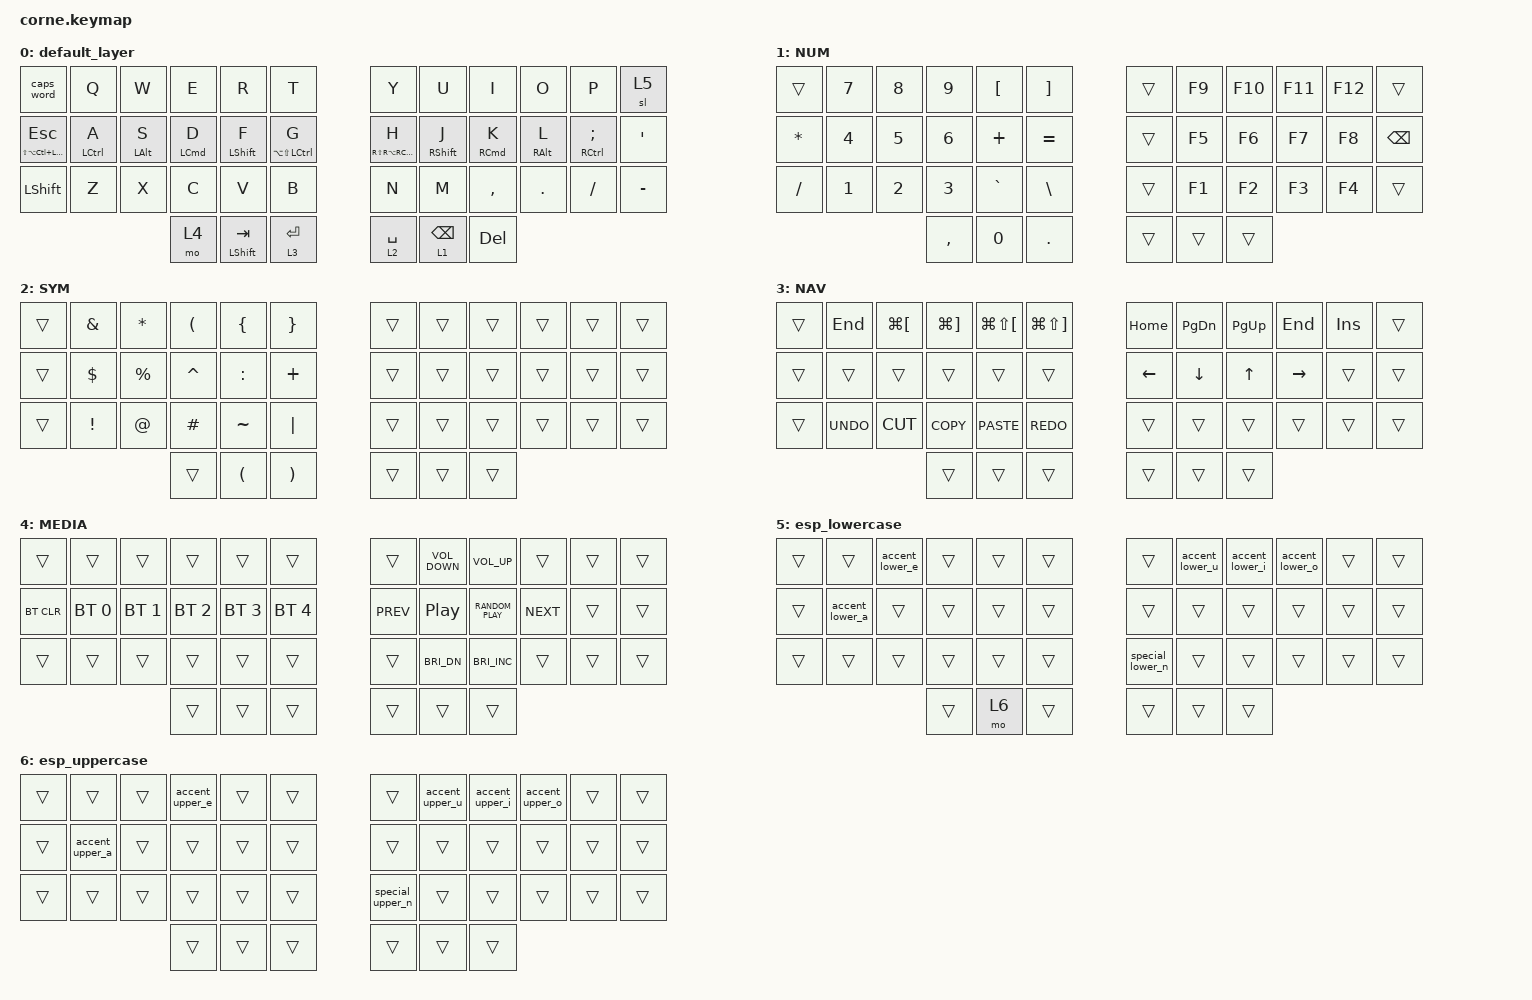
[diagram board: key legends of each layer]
/*
 * Copyright (c) 2020 The ZMK Contributors
 *
 * SPDX-License-Identifier: MIT
 */

#include <behaviors.dtsi>
#include <dt-bindings/zmk/bt.h>
#include <dt-bindings/zmk/keys.h>

/ {
    macros {
        accent_lower_a: accent_lower_a {
            compatible = "zmk,behavior-macro";
            #binding-cells = <0>;
            bindings = <&kp LA(E) &kp A &to 0>;
            label = "ACCENT_LOWER_A";
        };

        accent_lower_e: accent_lower_e {
            compatible = "zmk,behavior-macro";
            #binding-cells = <0>;
            bindings = <&kp LA(E) &kp E &to 0>;
            label = "ACCENT_LOWER_E";
        };

        accent_lower_i: accent_lower_i {
            compatible = "zmk,behavior-macro";
            #binding-cells = <0>;
            bindings = <&kp LA(E) &kp I &to 0>;
            label = "ACCENT_LOWER_I";
        };

        accent_lower_o: accent_lower_o {
            compatible = "zmk,behavior-macro";
            #binding-cells = <0>;
            bindings = <&kp LA(E) &kp O &to 0>;
            label = "ACCENT_LOWER_O";
        };

        accent_lower_u: accent_lower_u {
            compatible = "zmk,behavior-macro";
            #binding-cells = <0>;
            bindings = <&kp LA(E) &kp U &to 0>;
            label = "ACCENT_LOWER_U";
        };

        accent_upper_a: accent_upper_a {
            compatible = "zmk,behavior-macro";
            #binding-cells = <0>;
            bindings = <&kp LA(E) &kp LS(A) &to 0>;
            label = "ACCENT_UPPER_A";
        };

        accent_upper_e: accent_upper_e {
            compatible = "zmk,behavior-macro";
            #binding-cells = <0>;
            bindings = <&kp LA(E) &kp LS(E) &to 0>;
            label = "ACCENT_UPPER_E";
        };

        accent_upper_i: accent_upper_i {
            compatible = "zmk,behavior-macro";
            #binding-cells = <0>;
            bindings = <&kp LA(E) &kp LS(I) &to 0>;
            label = "ACCENT_UPPER_I";
        };

        accent_upper_o: accent_upper_o {
            compatible = "zmk,behavior-macro";
            #binding-cells = <0>;
            bindings = <&kp LA(E) &kp LS(O) &to 0>;
            label = "ACCENT_UPPER_O";
        };

        accent_upper_u: accent_upper_u {
            compatible = "zmk,behavior-macro";
            #binding-cells = <0>;
            bindings = <&kp LA(E) &kp LS(U) &to 0>;
            label = "ACCENT_UPPER_U";
        };

        special_lower_n: special_lower_n {
            compatible = "zmk,behavior-macro";
            #binding-cells = <0>;
            bindings = <&kp LA(N) &kp LS(N) &to 0>;
            label = "SPECIAL_LOWER_N";
        };

        special_upper_n: special_upper_n {
            compatible = "zmk,behavior-macro";
            #binding-cells = <0>;
            bindings = <&kp LA(N) &kp LS(N) &to 0>;
            label = "SPECIAL_UPPER_N";
        };
    };

    behaviors {
        hml: hml {
            compatible = "zmk,behavior-hold-tap";
            label = "HML";
            bindings = <&kp>, <&kp>;

            #binding-cells = <2>;
            hold-trigger-key-positions = <18 19 20 21 22 6 7 8 9 10 11 23 35 34 33 32 31 30 41 40 39>;
            flavor = "balanced";
            hold-trigger-on-release;
            quick-tap-ms = <175>;
            tapping-term-ms = <280>;
            require-prior-idle-ms = <150>;
        };

        hmr: hmr {
            compatible = "zmk,behavior-hold-tap";
            label = "HMR";
            bindings = <&kp>, <&kp>;

            #binding-cells = <2>;
            hold-trigger-key-positions = <17 16 15 14 13 38 37 36 24 0 12 1 25 26 2 3 4 5 29 28 27>;
            flavor = "balanced";
            hold-trigger-on-release;
            quick-tap-ms = <175>;
            tapping-term-ms = <280>;
            require-prior-idle-ms = <150>;
        };
    };

    keymap {
        compatible = "zmk,keymap";

        default_layer {
            // -----------------------------------------------------------------------------------------
            // |  TAB |  Q  |  W  |  E  |  R  |  T  |   |  Y  |  U   |  I  |  O  |  P  | BSPC |
            // | CTRL |  A  |  S  |  D  |  F  |  G  |   |  H  |  J   |  K  |  L  |  ;  |  '   |
            // | SHFT |  Z  |  X  |  C  |  V  |  B  |   |  N  |  M   |  ,  |  .  |  /  | ESC  |
            //                    | GUI | LWR | SPC |   | ENT | RSE  | ALT |

            bindings = <
&caps_word                         &kp Q         &kp W            &kp E                &kp R               &kp T                   &kp Y                             &kp U               &kp I                 &kp O             &kp P            &sl 5
&hml LS(LA(LC(LEFT_COMMAND))) ESC  &hml LCTRL A  &hml LEFT_ALT S  &hml LEFT_COMMAND D  &hml LEFT_SHIFT F   &hml LA(LS(LCTRL)) G    &hmr RS(RA(RC(RIGHT_COMMAND))) H  &hmr RIGHT_SHIFT J  &hmr RIGHT_COMMAND K  &hmr RIGHT_ALT L  &hmr RCTRL SEMI  &kp SQT
&kp LSHFT                          &kp Z         &kp X            &kp C                &kp V               &kp B                   &kp N                             &kp M               &kp COMMA             &kp DOT           &kp FSLH         &kp MINUS
                                                                  &mo 4                &mt LEFT_SHIFT TAB  &lt 3 ENTER             &lt 2 SPACE                       &lt 1 BACKSPACE     &kp DELETE
            >;
        };

        NUM {
            bindings = <
&trans        &kp N7        &kp N8        &kp N9        &kp LEFT_BRACKET  &kp RIGHT_BRACKET    &trans  &kp F9  &kp F10  &kp F11  &kp F12  &trans
&kp ASTERISK  &kp NUMBER_4  &kp N5        &kp NUMBER_6  &kp PLUS          &kp EQUAL            &trans  &kp F5  &kp F6   &kp F7   &kp F8   &kp BACKSPACE
&kp SLASH     &kp NUMBER_1  &kp NUMBER_2  &kp NUMBER_3  &kp GRAVE         &kp BACKSLASH        &trans  &kp F1  &kp F2   &kp F3   &kp F4   &trans
                                          &kp COMMA     &kp N0            &kp PERIOD           &trans  &trans  &trans
            >;
        };

        SYM {
            bindings = <
&trans  &kp AMPERSAND    &kp ASTERISK  &kp LEFT_PARENTHESIS  &kp LEFT_BRACE        &kp RIGHT_BRACE          &trans  &trans  &trans  &trans  &trans  &trans
&trans  &kp DOLLAR       &kp PERCENT   &kp CARET             &kp COLON             &kp PLUS                 &trans  &trans  &trans  &trans  &trans  &trans
&trans  &kp EXCLAMATION  &kp AT_SIGN   &kp HASH              &kp TILDE             &kp PIPE                 &trans  &trans  &trans  &trans  &trans  &trans
                                       &trans                &kp LEFT_PARENTHESIS  &kp RIGHT_PARENTHESIS    &trans  &trans  &trans
            >;
        };

        NAV {
            bindings = <
&trans  &kp END     &kp LG(LEFT_BRACKET)  &kp LG(RIGHT_BRACKET)  &kp LG(LS(LEFT_BRACKET))  &kp LG(LS(RIGHT_BRACKET))    &kp HOME        &kp PG_DN  &kp PG_UP     &kp END    &kp INS  &trans
&trans  &trans      &trans                &trans                 &trans                    &trans                       &kp LEFT_ARROW  &kp DOWN   &kp UP_ARROW  &kp RIGHT  &trans   &trans
&trans  &kp K_UNDO  &kp K_CUT             &kp K_COPY             &kp K_PASTE               &kp K_REDO                   &trans          &trans     &trans        &trans     &trans   &trans
                                          &trans                 &trans                    &trans                       &trans          &trans     &trans
            >;
        };

        MEDIA {
            // -----------------------------------------------------------------------------------------
            // |  TAB |  1  |  2  |  3  |  4  |  5  |   |  6  |  7  |  8  |  9  |  0  | BSPC |
            // | BTCLR| BT1 | BT2 | BT3 | BT4 | BT5 |   | LFT | DWN |  UP | RGT |     |      |
            // | SHFT |     |     |     |     |     |   |     |     |     |     |     |      |
            //                    | GUI |     | SPC |   | ENT |     | ALT |

            bindings = <
&trans      &trans        &trans        &trans        &trans        &trans          &trans      &kp C_VOLUME_DOWN  &kp C_VOLUME_UP       &trans      &trans  &trans
&bt BT_CLR  &bt BT_SEL 0  &bt BT_SEL 1  &bt BT_SEL 2  &bt BT_SEL 3  &bt BT_SEL 4    &kp C_PREV  &kp C_PLAY_PAUSE   &kp C_RANDOM_PLAY     &kp C_NEXT  &trans  &trans
&trans      &trans        &trans        &trans        &trans        &trans          &trans      &kp C_BRI_DN       &kp C_BRIGHTNESS_INC  &trans      &trans  &trans
                                        &trans        &trans        &trans          &trans      &trans             &trans
            >;
        };

        esp_lowercase {
            bindings = <
&trans  &trans           &accent_lower_e  &trans  &trans  &trans    &trans            &accent_lower_u  &accent_lower_i  &accent_lower_o  &trans  &trans
&trans  &accent_lower_a  &trans           &trans  &trans  &trans    &trans            &trans           &trans           &trans           &trans  &trans
&trans  &trans           &trans           &trans  &trans  &trans    &special_lower_n  &trans           &trans           &trans           &trans  &trans
                                          &trans  &mo 6   &trans    &trans            &trans           &trans
            >;
        };

        esp_uppercase {
            bindings = <
&trans  &trans           &trans  &accent_upper_e  &trans  &trans    &trans            &accent_upper_u  &accent_upper_i  &accent_upper_o  &trans  &trans
&trans  &accent_upper_a  &trans  &trans           &trans  &trans    &trans            &trans           &trans           &trans           &trans  &trans
&trans  &trans           &trans  &trans           &trans  &trans    &special_upper_n  &trans           &trans           &trans           &trans  &trans
                                 &trans           &trans  &trans    &trans            &trans           &trans
            >;
        };
    };
};
